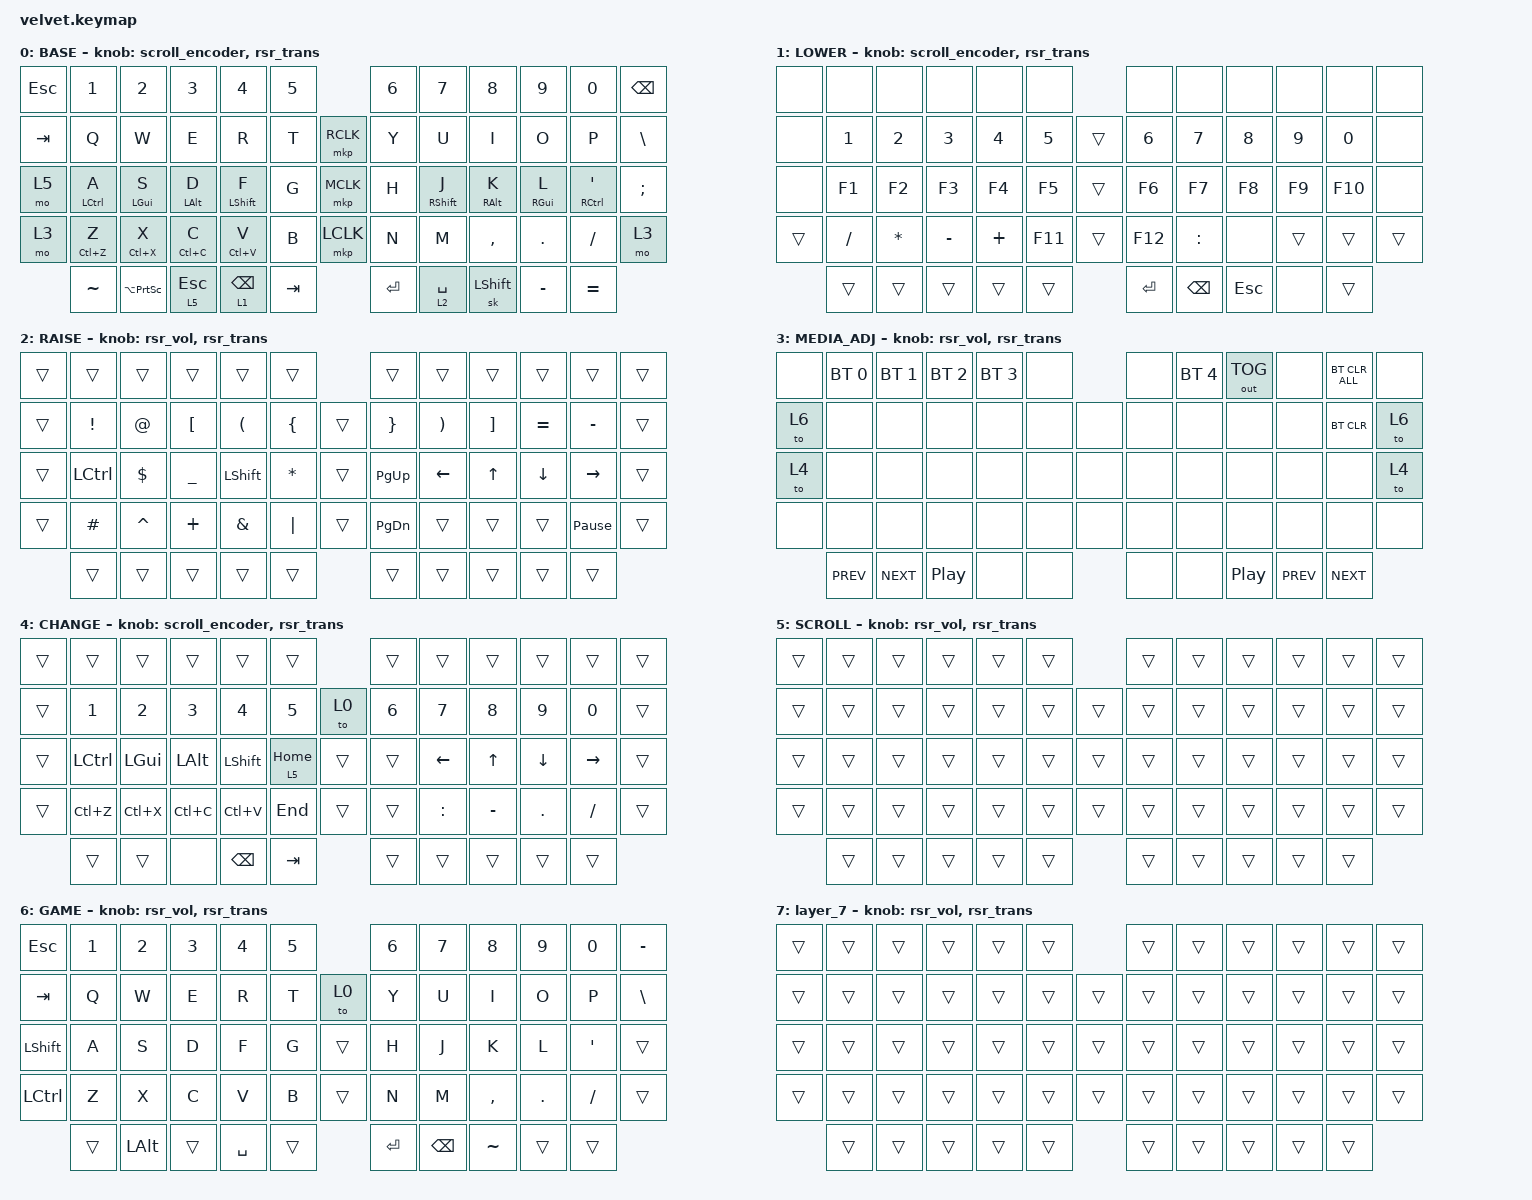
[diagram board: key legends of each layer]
#define BASE 0
#define LOWER 1
#define MOUSE_KEYS 2
#define MOUSE_TP 3
#define MOUSE_TP_SET 4

#include <zephyr/dt-bindings/input/input-event-codes.h>
#include <input/processors.dtsi>
#include <behaviors/runtime-sensor-rotate.dtsi>
#include <behaviors/runtime_macro.dtsi>
#include <behaviors.dtsi>
#include <dt-bindings/zmk/bt.h>
#include <dt-bindings/zmk/keys.h>
#include <dt-bindings/zmk/outputs.h>
#include <dt-bindings/zmk/pointing.h>

&mmv_input_listener { input-processors = <&zip_xy_scaler 2 1>; };

&msc_input_listener { input-processors = <&zip_scroll_scaler 2 1>; };

&msc {
    acceleration-exponent = <1>;      // 0
    time-to-max-speed-ms = <100>;       // 300
    delay-ms = <0>;                   // 0
};

&mmv {
    time-to-max-speed-ms = <500>;
    acceleration-exponent = <1>;
    trigger-period-ms = <16>;
};

&mt {
    quick-tap-ms = <115>;
    require-prior-idle-ms = <80>;
    flavor = "balanced";
    hold-trigger-key-positions = <26 27 28 29 54 57 33 34 35 36>;
    hold-trigger-on-release;
};

&lt {
    quick-tap-ms = <100>;
    require-prior-idle-ms = <50>;
    flavor = "balanced";
    hold-trigger-key-positions = <54 57>;
    hold-trigger-on-release;
};

/ {
    scroll_encoder: scroll_encoder {
        compatible = "zmk,behavior-sensor-rotate";
        #sensor-binding-cells = <0>;
        bindings = <&msc SCRL_UP>, <&msc SCRL_DOWN>;

        tap-ms = <100>;
    };

    behaviors {
        rsr_vol: rsr_vol {
            compatible = "zmk,behavior-runtime-sensor-rotate";
            #sensor-binding-cells = <0>;
            tap-ms = <5>;
            cw-binding = <&kp C_VOL_UP>;
            ccw-binding = <&kp C_VOL_DN>;
        };
    };

    combos {
        compatible = "zmk,combos";

        flash {
            bindings = <&bootloader>;
            key-positions = <0 11>;
        };

        Select_All {
            bindings = <&kp LC(A)>;
            key-positions = <13 14>;
        };
    };

    keymap {
        compatible = "zmk,keymap";

        BASE {
            bindings = <
&kp ESC  &kp N1              &kp N2               &kp N3          &kp N4            &kp N5              &kp NUMBER_6  &kp N7       &kp N8           &kp N9           &kp N0                        &kp BACKSPACE
&kp TAB  &kp Q               &kp W                &kp E           &kp R             &kp T    &mkp RCLK  &kp Y         &kp U        &kp I            &kp O            &kp P                         &kp BSLH
&mo 5    &mt LEFT_CONTROL A  &mt LEFT_GUI S       &mt LEFT_ALT D  &mt LEFT_SHIFT F  &kp G    &mkp MCLK  &kp H         &mt RSHFT J  &mt RIGHT_ALT K  &mt RIGHT_GUI L  &mt RIGHT_CONTROL APOSTROPHE  &kp SEMICOLON
&mo 3    &mt LC(Z) Z         &mt LC(X) X          &mt LC(C) C     &mt LC(V) V       &kp B    &mkp LCLK  &kp N         &kp M        &kp COMMA        &kp PERIOD       &kp SLASH                     &mo 3
         &kp TILDE           &kp LA(PRINTSCREEN)  &lt 5 ESCAPE    &lt 1 BACKSPACE   &kp TAB             &kp RET       &lt 2 SPACE  &sk LSHFT        &kp MINUS        &kp EQUAL
            >;

            label = "BASE";
            sensor-bindings = <&scroll_encoder>, <&rsr_trans>;
        };

        LOWER {
            bindings = <
&none   &none      &none     &none      &none     &none            &none    &none          &none       &none   &none    &none
&none   &kp N1     &kp N2    &kp N3     &kp N4    &kp N5   &trans  &kp N6   &kp N7         &kp N8      &kp N9  &kp N0   &none
&none   &kp F1     &kp F2    &kp F3     &kp F4    &kp F5   &trans  &kp F6   &kp F7         &kp F8      &kp F9  &kp F10  &none
&trans  &kp SLASH  &kp STAR  &kp MINUS  &kp PLUS  &kp F11  &trans  &kp F12  &kp COLON      &none       &trans  &trans   &trans
        &trans     &trans    &trans     &trans    &trans           &kp RET  &kp BACKSPACE  &kp ESCAPE  &none   &trans
            >;

            sensor-bindings = <&scroll_encoder>, <&rsr_trans>;
        };

        RAISE {
            bindings = <
&trans  &trans            &trans      &trans            &trans                &trans                  &trans           &trans                 &trans             &trans     &trans           &trans
&trans  &kp EXCL          &kp AT      &kp LEFT_BRACKET  &kp LEFT_PARENTHESIS  &kp LEFT_BRACE  &trans  &kp RIGHT_BRACE  &kp RIGHT_PARENTHESIS  &kp RIGHT_BRACKET  &kp EQUAL  &kp MINUS        &trans
&trans  &kp LEFT_CONTROL  &kp DOLLAR  &kp UNDER         &kp LEFT_SHIFT        &kp STAR        &trans  &kp PAGE_UP      &kp LEFT               &kp UP_ARROW       &kp DOWN   &kp RIGHT        &trans
&trans  &kp HASH          &kp CARET   &kp PLUS          &kp AMPS              &kp PIPE        &trans  &kp PAGE_DOWN    &trans                 &trans             &trans     &kp PAUSE_BREAK  &trans
        &trans            &trans      &trans            &trans                &trans                  &trans           &trans                 &trans             &trans     &trans
            >;

            sensor-bindings = <&rsr_vol &rsr_trans>;
        };

        MEDIA_ADJ {
            bindings = <
&none  &bt BT_SEL 0  &bt BT_SEL 1  &bt BT_SEL 2      &bt BT_SEL 3  &none         &none  &bt BT_SEL 4  &out OUT_TOG  &none       &bt BT_CLR_ALL  &none
&to 6  &none         &none         &none             &none         &none  &none  &none  &none         &none         &none       &bt BT_CLR      &to 6
&to 4  &none         &none         &none             &none         &none  &none  &none  &none         &none         &none       &none           &to 4
&none  &none         &none         &none             &none         &none  &none  &none  &none         &none         &none       &none           &none
       &kp C_PREV    &kp C_NEXT    &kp C_PLAY_PAUSE  &none         &none         &none  &none         &kp C_PP      &kp C_PREV  &kp C_NEXT
            >;

            sensor-bindings = <&rsr_vol &rsr_trans>;
        };

        CHANGE {
            bindings = <
&trans  &trans     &trans        &trans     &trans         &trans              &trans  &trans          &trans        &trans    &trans     &trans
&trans  &kp N1     &kp N2        &kp N3     &kp N4         &kp N5      &to 0   &kp N6  &kp N7          &kp N8        &kp N9    &kp N0     &trans
&trans  &kp LCTRL  &kp LEFT_GUI  &kp LALT   &kp LSHFT      &lt 5 HOME  &trans  &trans  &kp LEFT_ARROW  &kp UP_ARROW  &kp DOWN  &kp RIGHT  &trans
&trans  &kp LC(Z)  &kp LC(X)     &kp LC(C)  &kp LC(V)      &kp END     &trans  &trans  &kp COLON       &kp MINUS     &kp DOT   &kp SLASH  &trans
        &trans     &trans        &none      &kp BACKSPACE  &kp TAB             &trans  &trans          &trans        &trans    &trans
            >;

            sensor-bindings = <&scroll_encoder>, <&rsr_trans>;
        };

        SCROLL {
            bindings = <
&trans  &trans  &trans  &trans  &trans  &trans          &trans  &trans  &trans  &trans  &trans  &trans
&trans  &trans  &trans  &trans  &trans  &trans  &trans  &trans  &trans  &trans  &trans  &trans  &trans
&trans  &trans  &trans  &trans  &trans  &trans  &trans  &trans  &trans  &trans  &trans  &trans  &trans
&trans  &trans  &trans  &trans  &trans  &trans  &trans  &trans  &trans  &trans  &trans  &trans  &trans
        &trans  &trans  &trans  &trans  &trans          &trans  &trans  &trans  &trans  &trans
            >;

            sensor-bindings = <&rsr_vol &rsr_trans>;
        };

        GAME {
            bindings = <
&kp ESC    &kp N1  &kp N2        &kp N3  &kp N4     &kp N5          &kp N6     &kp N7    &kp N8     &kp N9   &kp N0    &kp MINUS
&kp TAB    &kp Q   &kp W         &kp E   &kp R      &kp T   &to 0   &kp Y      &kp U     &kp I      &kp O    &kp P     &kp BSLH
&kp LSHFT  &kp A   &kp S         &kp D   &kp F      &kp G   &trans  &kp H      &kp J     &kp K      &kp L    &kp APOS  &trans
&kp LCTRL  &kp Z   &kp X         &kp C   &kp V      &kp B   &trans  &kp N      &kp M     &kp COMMA  &kp DOT  &kp FSLH  &trans
           &trans  &kp LEFT_ALT  &trans  &kp SPACE  &trans          &kp ENTER  &kp BSPC  &kp TILDE  &trans   &trans
            >;

            sensor-bindings = <&rsr_vol &rsr_trans>;
        };

        layer_7 {
            bindings = <
&trans  &trans  &trans  &trans  &trans  &trans          &trans  &trans  &trans  &trans  &trans  &trans
&trans  &trans  &trans  &trans  &trans  &trans  &trans  &trans  &trans  &trans  &trans  &trans  &trans
&trans  &trans  &trans  &trans  &trans  &trans  &trans  &trans  &trans  &trans  &trans  &trans  &trans
&trans  &trans  &trans  &trans  &trans  &trans  &trans  &trans  &trans  &trans  &trans  &trans  &trans
        &trans  &trans  &trans  &trans  &trans          &trans  &trans  &trans  &trans  &trans
            >;

            sensor-bindings = <&rsr_vol &rsr_trans>;
        };
    };
};
